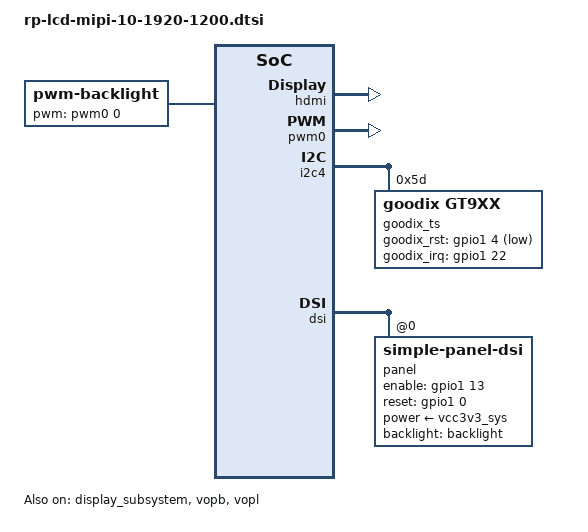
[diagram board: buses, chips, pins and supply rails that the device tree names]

/ {
	
	backlight: backlight {
		status = "okay";
		compatible = "pwm-backlight";
		pwms = <&pwm0 0 25000 0>;
		brightness-levels = <
			  0   1   2   3   4   5   6   7
			  8   9  10  11  12  13  14  15
			 16  17  18  19  20  21  22  23
			 24  25  26  27  28  29  30  31
			 32  33  34  35  36  37  38  39
			 40  41  42  43  44  45  46  47
			 48  49  50  51  52  53  54  55
			 56  57  58  59  60  61  62  63
			 64  65  66  67  68  69  70  71
			 72  73  74  75  76  77  78  79
			 80  81  82  83  84  85  86  87
			 88  89  90  91  92  93  94  95
			 96  97  98  99 100 101 102 103
			104 105 106 107 108 109 110 111
			112 113 114 115 116 117 118 119
			120 121 122 123 124 125 126 127
			128 129 130 131 132 133 134 135
			136 137 138 139 140 141 142 143
			144 145 146 147 148 149 150 151
			152 153 154 155 156 157 158 159
			160 161 162 163 164 165 166 167
			168 169 170 171 172 173 174 175
			176 177 178 179 180 181 182 183
			184 185 186 187 188 189 190 191
			192 193 194 195 196 197 198 199
			200 201 202 203 204 205 206 207
			208 209 210 211 212 213 214 215
			216 217 218 219 220 221 222 223
			224 225 226 227 228 229 230 231
			232 233 234 235 236 237 238 239
			240 241 242 243 244 245 246 247
			248 249 250 251 252 253 254 255>;
		default-brightness-level = <255>;
	};

	//bill  
        rpdzkj_config {
                compatible = "rp_config";
                user_version = "rpdzkj";
                system_rotate = "0";
                back_camera_rotate = "0";
                front_camera_rotate = "0";
                lcd_density = "240";
                language = "zh-CN";   //zh-CN //en-US
                time_zone = "Asia/Shanghai"; //Asia/Shanghai = +8   //Europe/London  = +0
                not_navigation_bar = "false";
                not_status_bar = "false";
                default_launcher = "true";
                has_root = "true";  //true//false
                usb_not_permission = "true";  
                usb_camera_only_front = "false";
                gps_use = "false";
                gps_serial_port = "/dev/ttyS4"; //UART4
                status = "okay";
        };

};

&hdmi {
        #address-cells = <1>;
        #size-cells = <0>;
        #sound-dai-cells = <0>;
        ddc-i2c-scl-high-time-ns = <9625>;
        ddc-i2c-scl-low-time-ns = <10000>;
        status = "okay";
};

&pwm0 {
	status = "okay";
};

&i2c4 {
        status = "okay";

        goodix_ts@5d {
		compatible = "goodix,gt9xx";
		reg = <0x5d>;
		
		goodix_rst_gpio = <&gpio1 4 GPIO_ACTIVE_LOW>;
		goodix_irq_gpio = <&gpio1 22 IRQ_TYPE_EDGE_RISING>;

//new		
		goodix,cfg-group0 = [
			55 80 07 B0 04 0A 3D 00 01 08 28
			05 50 32 03 05 00 00 00 00 00 00
			00 18 1A 1E 14 8E 2F 99 17 15 31
			0D 00 00 02 9B 03 1D 00 00 00 00
			00 00 00 00 00 00 00 1E 78 94 C5
			02 08 00 00 00 5B 22 00 4C 2D 00
			41 3C 00 38 4F 00 32 69 00 32 00
			00 00 00 00 00 00 00 00 00 00 00
			00 00 00 00 00 00 00 00 00 00 00
			00 00 00 00 00 00 00 00 00 00 00
			00 00 00 01 04 05 06 07 08 09 0C
			0D 0E 0F 10 11 14 15 16 17 FF FF
			00 00 00 00 00 00 00 00 00 00 00
			02 04 06 07 08 0A 0C 0D 0F 10 11
			12 13 19 1B 1C 1E 1F 20 21 22 23
			24 25 26 27 28 29 FF FF FF 00 00
			00 00 00 00 00 00 00 00 6B 01];

	};

};

&display_subsystem {
	status = "okay";

	ports = <&vopb_out>, <&vopl_out>;
	logo-memory-region = <&drm_logo>;

	route {
		route_hdmi: route-hdmi {
			status = "okay";
			logo,uboot = "logo.bmp";
			logo,kernel = "logo_kernel.bmp";
			logo,mode = "fullscreen";
			charge_logo,mode = "center";
			connect = <&vopl_out_hdmi>;
		};

		route_dsi: route-dsi {
			status = "okay";
			logo,uboot = "logo.bmp";
			logo,kernel = "logo_kernel.bmp";
			logo,mode = "fullscreen";
			charge_logo,mode = "center";
			connect = <&vopb_out_dsi>;
		};

		route_dsi1: route-dsi1 {
			status = "disabled";
			logo,uboot = "logo.bmp";
			logo,kernel = "logo_kernel.bmp";
			logo,mode = "fullscreen";
			charge_logo,mode = "center";
			connect = <&vopl_out_dsi1>;
		};

		route_edp: route-edp {
			status = "disabled";
			logo,uboot = "logo.bmp";
			logo,kernel = "logo_kernel.bmp";
			logo,mode = "fullscreen";
			charge_logo,mode = "center";
			connect = <&vopb_out_edp>;
		};
	};
};

&dsi {
        status = "okay";
	//rockchip,lane-rate = <1000>;

        panel {
                compatible ="simple-panel-dsi";
                status = "okay";
                reg = <0>;
		power-supply = <&vcc3v3_sys>;
                backlight = <&backlight>;
                enable-gpios = <&gpio1 13 GPIO_ACTIVE_HIGH>;
		reset-gpios  = <&gpio1 0 GPIO_ACTIVE_HIGH>;
                dsi,flags = <(MIPI_DSI_MODE_VIDEO | MIPI_DSI_MODE_VIDEO_BURST |
                                MIPI_DSI_MODE_VIDEO_SYNC_PULSE)>;
                dsi,format = <MIPI_DSI_FMT_RGB888>;
                dsi,lanes = <4>;
                reset-delay-ms = <20>;
                init-delay-ms = <20>;
                enable-delay-ms = <120>;
                prepare-delay-ms = <120>;

					//for king/rp/rd board cannot enable boot logo
                                        pinctrl-names = "default";
                                        pinctrl-0 = <&pwr_en>;
                display-timings {
                        native-mode = <&timing1>;
			timing0: timing0 {
				clock-frequency = <150000000>;
				hactive = <1920>;
				vactive = <1200>;
				hback-porch = <60>;
				hfront-porch = <16>;
				vback-porch = <23>;
				vfront-porch = <12>;
				hsync-len = <20>;
				vsync-len = <3>;
				de-active = <0>;
                                hsync-active = <0>;
                                vsync-active = <0>;
				pixelclk-active = <1>;
			};
			timing1: timing1{
				clock-frequency = <140000000>;
				hactive = <1920>;
				vactive = <1200>;
				hback-porch = <60>;
				hfront-porch = <16>;
				vback-porch = <23>;
				vfront-porch = <12>;
				hsync-len = <20>;
				vsync-len = <3>;
				de-active = <0>;
                                hsync-active = <0>;
                                vsync-active = <0>;
				pixelclk-active = <0>;
			};
                };
        };
};

&route_dsi {
        status = "okay";
};

&vopb {
        assigned-clocks = <&cru DCLK_VOP0_DIV>;
        assigned-clock-parents = <&cru PLL_CPLL>;
        //assigned-clock-parents = <&cru PLL_VPLL>;
        status = "okay";
};

&vopb_mmu {
        status = "okay";
};

&vopl {
        assigned-clocks = <&cru DCLK_VOP1_DIV>;
        assigned-clock-parents = <&cru PLL_VPLL>;
        //assigned-clock-parents = <&cru PLL_CPLL>;
        status = "okay";
};

&vopl_mmu {
        status = "okay";
};

&dsi_in_vopl { 
        status = "disabled"; 
}; 
 
&hdmi_in_vopb { 
        status = "disabled"; 
}; 
 
&edp_in_vopb { 
        status = "disabled"; 
}; 
&edp_in_vopl { 
        status = "disabled"; 
}; 

&dsi1_in_vopl { 
        status = "disabled"; 
}; 
&dsi1_in_vopb { 
        status = "disabled"; 
}; 

&pinctrl{
        pwr_5v {
                        pwr_en: pwr-en {
                                rockchip,pins = //<1 13 RK_FUNC_GPIO &pcfg_pull_up>,
                                                <4 30 RK_FUNC_GPIO &pcfg_pull_up>;
                        };
        };
};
